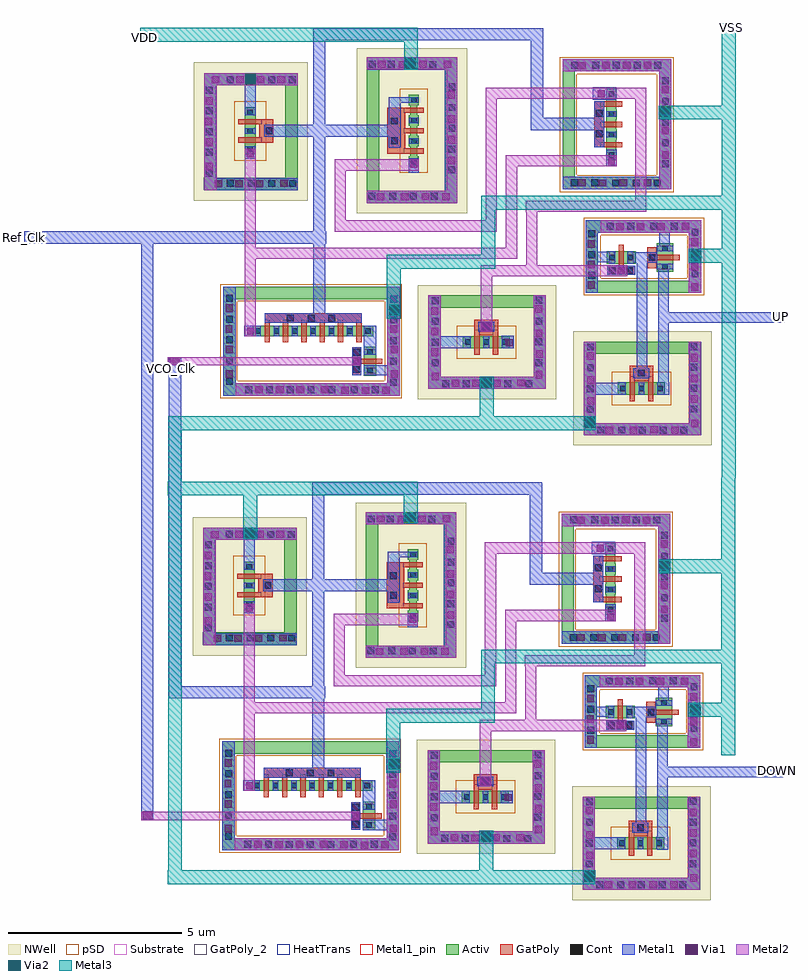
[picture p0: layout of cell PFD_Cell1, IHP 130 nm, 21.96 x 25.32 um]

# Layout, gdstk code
from math import pi, radians
import gdstk
lib = gdstk.Library(unit=1e-6, precision=1e-09)
def R(c, l, rs):  # rectangles x0, y0, x1, y1
    for r in rs: c.add(gdstk.rectangle(r[:2], r[2:], *l))
def A(c, l, x, y, w, h, nx, ny, dx, dy):  # array of equal rectangles
    R(c, l, [(x+i*dx, y+j*dy, x+i*dx+w, y+j*dy+h) for i in range(nx) for j in range(ny)])
Activ = (1, 0)
GatPoly = (5, 0)
GatPoly_2 = (5, 2)
Cont = (6, 0)
Metal1 = (8, 0)
Metal1_pin = (8, 2)
Metal2 = (10, 0)
pSD = (14, 0)
Via1 = (19, 0)
Via2 = (29, 0)
Metal3 = (30, 0)
NWell = (31, 0)
Substrate = (40, 0)
HeatTrans = (51, 0)

pmos_3 = lib.new_cell('pmos$3')
A(pmos_3, Activ, 0, 0, 0.3, 0.3, 4, 1, 0.59, 0)
R(pmos_3, Activ, [(0,0.045,2.07,0.255)])
A(pmos_3, GatPoly, 0.37, -0.135, 0.15, 0.57, 3, 1, 0.59, 0)
R(pmos_3, GatPoly, [(0.37,-0.135,0.52,0.435)])
A(pmos_3, Cont, 0.07, 0.07, 0.16, 0.16, 4, 1, 0.59, 0)
A(pmos_3, Metal1, 0.66, 0.02, 0.16, 0.26, 3, 1, 0.59, 0)
R(pmos_3, Metal1, [(0.07,0.02,0.23,0.28), (0.07,0.02,0.23,0.28), (0.66,0.02,0.82,0.28)])
R(pmos_3, pSD, [(-0.18,-0.255,2.25,0.555)])
R(pmos_3, NWell, [(-0.31,-0.31,2.38,0.61)])
R(pmos_3, Substrate, [(1.77,0,2.07,0.3)])
A(pmos_3, HeatTrans, 0.37, -0.135, 0.15, 0.57, 3, 1, 0.59, 0)
pmos_3.add(gdstk.Label('pmos', (0.445,0.15), layer=63, texttype=0))
pmos_3.add(gdstk.Label('pmos', (0.445,0.15), layer=51, texttype=0))
pmos_3.add(gdstk.Label('pmos', (1.035,0.15), layer=51, texttype=0))
pmos_3.add(gdstk.Label('pmos', (1.625,0.15), layer=51, texttype=0))

pmos_2_1 = lib.new_cell('pmos$2$1')
A(pmos_2_1, Activ, 0, 0, 0.3, 0.3, 3, 1, 0.53, 0)
R(pmos_2_1, Activ, [(0,0,1.36,0.32)])
R(pmos_2_1, GatPoly, [(0.34,-0.18,0.49,0.5), (0.34,-0.18,0.49,0.5), (0.87,-0.18,1.02,0.5)])
A(pmos_2_1, Cont, 0.07, 0.08, 0.16, 0.16, 3, 1, 0.53, 0)
R(pmos_2_1, Metal1, [(0.07,0,0.23,0.32), (0.07,0,0.23,0.32), (0.6,0,0.76,0.32), (0.6,0,0.76,0.32), (1.13,0,1.29,0.32)])
R(pmos_2_1, pSD, [(-0.18,-0.3,1.54,0.62)])
R(pmos_2_1, NWell, [(-0.31,-0.31,1.67,0.63)])
R(pmos_2_1, Substrate, [(1.06,0,1.36,0.3)])
R(pmos_2_1, HeatTrans, [(0.34,-0.18,0.49,0.5), (0.87,-0.18,1.02,0.5)])
pmos_2_1.add(gdstk.Label('pmos', (0.415,0.16), layer=63, texttype=0))
pmos_2_1.add(gdstk.Label('pmos', (0.415,0.16), layer=51, texttype=0))
pmos_2_1.add(gdstk.Label('pmos', (0.945,0.16), layer=51, texttype=0))

nmos_1 = lib.new_cell('nmos$1')
A(nmos_1, Activ, 0, 0, 0.3, 0.3, 7, 1, 0.53, 0)
R(nmos_1, Activ, [(0,0,3.48,0.3)])
A(nmos_1, GatPoly, 0.34, -0.18, 0.15, 0.66, 6, 1, 0.53, 0)
R(nmos_1, GatPoly_2, [(0.34,-0.18,0.49,0.48)])
A(nmos_1, Cont, 0.07, 0.07, 0.16, 0.16, 7, 1, 0.53, 0)
A(nmos_1, Metal1, 0.07, 0, 0.16, 0.3, 7, 1, 0.53, 0)
R(nmos_1, Metal1_pin, [(0.07,0,0.23,0.3), (0.6,0,0.76,0.3)])
A(nmos_1, HeatTrans, 0.34, -0.18, 0.15, 0.66, 6, 1, 0.53, 0)
nmos_1.add(gdstk.Label('nmos', (0.415,0.15), layer=63, texttype=0))
nmos_1.add(gdstk.Label('nmos', (0.415,0.15), layer=51, texttype=0))
nmos_1.add(gdstk.Label('nmos', (0.945,0.15), layer=51, texttype=0))
nmos_1.add(gdstk.Label('nmos', (1.475,0.15), layer=51, texttype=0))
nmos_1.add(gdstk.Label('nmos', (2.005,0.15), layer=51, texttype=0))
nmos_1.add(gdstk.Label('nmos', (2.535,0.15), layer=51, texttype=0))
nmos_1.add(gdstk.Label('nmos', (3.065,0.15), layer=51, texttype=0))

nmos_3_1 = lib.new_cell('nmos$3$1')
R(nmos_3_1, Activ, [(0,0,0.3,0.3), (0,0,0.83,0.36), (0.53,0,0.83,0.3)])
R(nmos_3_1, GatPoly, [(0.34,-0.18,0.49,0.54)])
R(nmos_3_1, GatPoly_2, [(0.34,-0.18,0.49,0.54)])
R(nmos_3_1, Cont, [(0.07,0.1,0.23,0.26), (0.6,0.1,0.76,0.26)])
R(nmos_3_1, Metal1, [(0.07,0,0.23,0.36), (0.6,0,0.76,0.36)])
R(nmos_3_1, Metal1_pin, [(0.07,0,0.23,0.36), (0.6,0,0.76,0.36)])
R(nmos_3_1, HeatTrans, [(0.34,-0.18,0.49,0.54)])
nmos_3_1.add(gdstk.Label('nmos', (0.415,0.18), layer=63, texttype=0))
nmos_3_1.add(gdstk.Label('nmos', (0.415,0.18), layer=51, texttype=0))

nmos = lib.new_cell('nmos')
A(nmos, Activ, 0, 0, 0.3, 0.3, 4, 1, 0.59, 0)
R(nmos, Activ, [(0,0.01,2.07,0.29)])
A(nmos, GatPoly, 0.37, -0.17, 0.15, 0.64, 3, 1, 0.59, 0)
R(nmos, GatPoly_2, [(0.37,-0.17,0.52,0.47)])
A(nmos, Cont, 0.07, 0.07, 0.16, 0.16, 4, 1, 0.59, 0)
A(nmos, Metal1, 0.07, 0.01, 0.16, 0.28, 4, 1, 0.59, 0)
R(nmos, Metal1_pin, [(0.07,0.01,0.23,0.29), (0.66,0.01,0.82,0.29)])
A(nmos, HeatTrans, 0.37, -0.17, 0.15, 0.64, 3, 1, 0.59, 0)
nmos.add(gdstk.Label('nmos', (0.445,0.15), layer=63, texttype=0))
nmos.add(gdstk.Label('nmos', (0.445,0.15), layer=51, texttype=0))
nmos.add(gdstk.Label('nmos', (1.035,0.15), layer=51, texttype=0))
nmos.add(gdstk.Label('nmos', (1.625,0.15), layer=51, texttype=0))

pmos = lib.new_cell('pmos')
A(pmos, Activ, 0, 0, 0.3, 0.3, 3, 1, 0.53, 0)
R(pmos, Activ, [(0,0,1.36,0.36)])
R(pmos, GatPoly, [(0.34,-0.18,0.49,0.54), (0.34,-0.18,0.49,0.54), (0.87,-0.18,1.02,0.54)])
A(pmos, Cont, 0.07, 0.1, 0.16, 0.16, 3, 1, 0.53, 0)
R(pmos, Metal1, [(0.07,0,0.23,0.36), (0.07,0,0.23,0.36), (0.6,0,0.76,0.36), (0.6,0,0.76,0.36), (1.13,0,1.29,0.36)])
R(pmos, pSD, [(-0.18,-0.3,1.54,0.66)])
R(pmos, NWell, [(-0.31,-0.31,1.67,0.67)])
R(pmos, Substrate, [(1.06,0,1.36,0.3)])
R(pmos, HeatTrans, [(0.34,-0.18,0.49,0.54), (0.87,-0.18,1.02,0.54)])
pmos.add(gdstk.Label('pmos', (0.415,0.18), layer=63, texttype=0))
pmos.add(gdstk.Label('pmos', (0.415,0.18), layer=51, texttype=0))
pmos.add(gdstk.Label('pmos', (0.945,0.18), layer=51, texttype=0))

nmos_5 = lib.new_cell('nmos$5')
R(nmos_5, Activ, [(0,0,0.3,0.3), (0,0,0.83,0.48), (0.53,0,0.83,0.3)])
R(nmos_5, GatPoly, [(0.34,-0.18,0.49,0.66)])
R(nmos_5, GatPoly_2, [(0.34,-0.18,0.49,0.66)])
R(nmos_5, Cont, [(0.07,0.16,0.23,0.32), (0.6,0.16,0.76,0.32)])
R(nmos_5, Metal1, [(0.07,0,0.23,0.48), (0.6,0,0.76,0.48)])
R(nmos_5, Metal1_pin, [(0.07,0,0.23,0.48), (0.6,0,0.76,0.48)])
R(nmos_5, HeatTrans, [(0.34,-0.18,0.49,0.66)])
nmos_5.add(gdstk.Label('nmos', (0.415,0.24), layer=63, texttype=0))
nmos_5.add(gdstk.Label('nmos', (0.415,0.24), layer=51, texttype=0))

pfd_cell1 = lib.new_cell('PFD_Cell1')
R(pfd_cell1, Activ, [(254.327,-125.049,254.677,-122.349), (254.677,-125.049,257.722,-124.699), (257.37,-124.699,257.72,-122.699), (243.912,-123.904,249.012,-123.549), (249.842,-123.709,250.192,-121.009), (250.192,-123.709,253.237,-123.359), (243.912,-123.549,244.267,-121.114), (248.657,-123.549,249.012,-121.114), (252.885,-123.359,253.235,-121.359), (254.677,-122.699,257.717,-122.349), (254.677,-122.699,257.717,-122.349), (250.192,-121.359,253.232,-121.009), (243.912,-121.114,249.012,-120.759), (254.382,-120.934,257.722,-120.579), (254.382,-120.934,254.737,-118.839), (257.367,-120.789,257.722,-119.124), (254.382,-119.194,257.722,-118.839), (248.057,-118.337,250.667,-117.987), (248.057,-117.987,248.412,-114.127), (250.317,-117.987,250.667,-114.477), (243.357,-117.974,243.707,-114.929), (245.707,-117.969,246.057,-114.929), (243.352,-117.959,246.057,-117.609), (253.717,-117.934,254.072,-114.534), (254.072,-117.934,256.507,-117.579), (256.507,-117.934,256.862,-114.179), (243.357,-114.929,246.057,-114.579), (253.717,-114.534,256.507,-114.179), (248.412,-114.479,250.667,-114.127), (254.355,-111.909,254.705,-109.209), (254.705,-111.909,257.75,-111.559), (257.398,-111.559,257.748,-109.559), (243.94,-110.764,249.04,-110.409), (249.87,-110.569,250.22,-107.869), (250.22,-110.569,253.265,-110.219), (243.94,-110.409,244.295,-107.974), (248.685,-110.409,249.04,-107.974), (252.913,-110.219,253.263,-108.219), (254.705,-109.559,257.745,-109.209), (254.705,-109.559,257.745,-109.209), (250.22,-108.219,253.26,-107.869), (243.94,-107.974,249.04,-107.619), (254.41,-107.794,257.75,-107.439), (254.41,-107.794,254.765,-105.699), (257.395,-107.649,257.75,-105.984), (254.41,-106.054,257.75,-105.699), (248.085,-105.197,250.695,-104.847), (248.085,-104.847,248.44,-100.987), (250.345,-104.847,250.695,-101.337), (243.385,-104.834,243.735,-101.789), (245.735,-104.829,246.085,-101.789), (243.38,-104.819,246.085,-104.469), (253.745,-104.794,254.1,-101.394), (254.1,-104.794,256.535,-104.439), (256.535,-104.794,256.89,-101.039), (243.385,-101.789,246.085,-101.439), (253.745,-101.394,256.535,-101.039), (248.44,-101.339,250.695,-100.987)])
R(pfd_cell1, GatPoly, [(255.657,-123.494,256.342,-123.044), (247.642,-123.309,247.902,-122.509), (251.172,-122.154,251.857,-121.704), (245.107,-121.804,247.907,-121.524), (255.012,-120.414,255.812,-120.154), (256.167,-120.224,256.437,-119.614), (248.657,-116.907,249.167,-115.577), (254.637,-116.729,254.917,-115.394), (244.957,-116.594,245.362,-115.909), (255.685,-110.354,256.37,-109.904), (247.67,-110.169,247.93,-109.369), (251.2,-109.014,251.885,-108.564), (245.135,-108.664,247.935,-108.384), (255.04,-107.274,255.84,-107.014), (256.195,-107.084,256.465,-106.474), (248.685,-103.767,249.195,-102.437), (254.665,-103.589,254.945,-102.254), (244.985,-103.454,245.39,-102.769)])
A(pfd_cell1, Cont, 255.922, -124.999, 0.2, 0.195, 3, 1, 0.6, 0)
A(pfd_cell1, Cont, 245.747, -123.834, 0.2, 0.195, 3, 1, 0.6, 0)
A(pfd_cell1, Cont, 251.437, -123.659, 0.2, 0.195, 3, 1, 0.6, 0)
A(pfd_cell1, Cont, 248.737, -123.614, 0.195, 0.2, 1, 3, 0, 0.6)
A(pfd_cell1, Cont, 243.992, -123.594, 0.195, 0.2, 1, 3, 0, 0.6)
A(pfd_cell1, Cont, 254.462, -120.529, 0.195, 0.2, 1, 3, 0, 0.6)
A(pfd_cell1, Cont, 257.447, -120.479, 0.195, 0.2, 1, 3, 0, 0.6)
A(pfd_cell1, Cont, 255.152, -117.854, 0.2, 0.195, 3, 1, 0.6, 0)
A(pfd_cell1, Cont, 243.407, -117.574, 0.195, 0.2, 1, 3, 0, 0.6)
A(pfd_cell1, Cont, 250.422, -116.277, 0.195, 0.2, 1, 3, 0, 0.6)
A(pfd_cell1, Cont, 256.597, -116.099, 0.195, 0.2, 1, 3, 0, 0.6)
A(pfd_cell1, Cont, 255.172, -114.454, 0.2, 0.195, 3, 1, 0.6, 0)
A(pfd_cell1, Cont, 255.95, -111.859, 0.2, 0.195, 3, 1, 0.6, 0)
A(pfd_cell1, Cont, 245.775, -110.694, 0.2, 0.195, 3, 1, 0.6, 0)
A(pfd_cell1, Cont, 251.465, -110.519, 0.2, 0.195, 3, 1, 0.6, 0)
A(pfd_cell1, Cont, 248.765, -110.474, 0.195, 0.2, 1, 3, 0, 0.6)
A(pfd_cell1, Cont, 244.02, -110.454, 0.195, 0.2, 1, 3, 0, 0.6)
A(pfd_cell1, Cont, 254.49, -107.389, 0.195, 0.2, 1, 3, 0, 0.6)
A(pfd_cell1, Cont, 257.475, -107.339, 0.195, 0.2, 1, 3, 0, 0.6)
A(pfd_cell1, Cont, 255.18, -104.714, 0.2, 0.195, 3, 1, 0.6, 0)
A(pfd_cell1, Cont, 243.435, -104.434, 0.195, 0.2, 1, 3, 0, 0.6)
A(pfd_cell1, Cont, 250.45, -103.137, 0.195, 0.2, 1, 3, 0, 0.6)
A(pfd_cell1, Cont, 256.625, -102.959, 0.195, 0.2, 1, 3, 0, 0.6)
A(pfd_cell1, Cont, 255.2, -101.314, 0.2, 0.195, 3, 1, 0.6, 0)
R(pfd_cell1, Cont, [(254.722,-124.994,254.922,-124.799), (255.322,-124.994,255.522,-124.799), (254.422,-124.399,254.617,-124.199), (257.417,-124.389,257.612,-124.189), (244.547,-123.829,244.747,-123.634), (245.147,-123.829,245.347,-123.634), (247.602,-123.829,247.802,-123.634), (248.202,-123.829,248.402,-123.634), (254.422,-123.799,254.617,-123.599), (257.417,-123.789,257.612,-123.589), (250.237,-123.654,250.437,-123.459), (250.837,-123.654,251.037,-123.459), (255.897,-123.349,256.097,-123.154), (247.667,-123.249,247.862,-123.049), (254.427,-123.199,254.622,-122.999), (257.422,-123.189,257.617,-122.989), (249.937,-123.059,250.132,-122.859), (252.932,-123.049,253.127,-122.849), (247.672,-122.754,247.867,-122.554), (254.427,-122.599,254.622,-122.399), (257.422,-122.589,257.617,-122.389), (249.937,-122.459,250.132,-122.259), (252.932,-122.449,253.127,-122.249), (251.412,-122.009,251.612,-121.814), (249.942,-121.859,250.137,-121.659), (252.937,-121.849,253.132,-121.649), (248.742,-121.814,248.937,-121.614), (243.997,-121.794,244.192,-121.594), (246.352,-121.764,246.552,-121.569), (246.952,-121.764,247.152,-121.569), (245.752,-121.759,245.952,-121.564), (249.942,-121.259,250.137,-121.059), (252.937,-121.249,253.132,-121.049), (248.742,-121.214,248.937,-121.014), (243.997,-121.194,244.192,-120.994), (255.552,-120.389,255.752,-120.194), (255.057,-120.384,255.257,-120.189), (256.202,-120.009,256.402,-119.814), (254.992,-119.109,255.192,-118.914), (255.592,-119.109,255.792,-118.914), (256.247,-119.104,256.447,-118.909), (256.847,-119.104,257.047,-118.909), (249.307,-118.242,249.507,-118.047), (249.907,-118.242,250.107,-118.047), (248.107,-118.237,248.307,-118.042), (248.707,-118.237,248.907,-118.042), (245.217,-117.869,245.417,-117.674), (245.817,-117.869,246.017,-117.674), (244.017,-117.864,244.217,-117.669), (244.617,-117.864,244.817,-117.669), (253.952,-117.849,254.152,-117.654), (254.552,-117.849,254.752,-117.654), (250.417,-117.477,250.612,-117.277), (256.592,-117.299,256.787,-117.099), (250.417,-116.877,250.612,-116.677), (256.592,-116.699,256.787,-116.499), (248.762,-116.637,248.957,-116.437), (254.677,-116.439,254.872,-116.239), (245.137,-116.349,245.332,-116.149), (248.757,-116.067,248.952,-115.867), (254.682,-115.839,254.877,-115.639), (243.412,-115.774,243.607,-115.574), (243.412,-115.174,243.607,-114.974), (245.207,-114.874,245.407,-114.679), (245.807,-114.874,246.007,-114.679), (244.007,-114.869,244.207,-114.674), (244.607,-114.869,244.807,-114.674), (253.972,-114.449,254.172,-114.254), (254.572,-114.449,254.772,-114.254), (249.267,-114.432,249.467,-114.237), (249.867,-114.432,250.067,-114.237), (248.117,-114.427,248.317,-114.232), (248.667,-114.427,248.867,-114.232), (254.75,-111.854,254.95,-111.659), (255.35,-111.854,255.55,-111.659), (254.45,-111.259,254.645,-111.059), (257.445,-111.249,257.64,-111.049), (244.575,-110.689,244.775,-110.494), (245.175,-110.689,245.375,-110.494), (247.63,-110.689,247.83,-110.494), (248.23,-110.689,248.43,-110.494), (254.45,-110.659,254.645,-110.459), (257.445,-110.649,257.64,-110.449), (250.265,-110.514,250.465,-110.319), (250.865,-110.514,251.065,-110.319), (255.925,-110.209,256.125,-110.014), (247.695,-110.109,247.89,-109.909), (254.455,-110.059,254.65,-109.859), (257.45,-110.049,257.645,-109.849), (249.965,-109.919,250.16,-109.719), (252.96,-109.909,253.155,-109.709), (247.7,-109.614,247.895,-109.414), (254.455,-109.459,254.65,-109.259), (257.45,-109.449,257.645,-109.249), (249.965,-109.319,250.16,-109.119), (252.96,-109.309,253.155,-109.109), (251.44,-108.869,251.64,-108.674), (249.97,-108.719,250.165,-108.519), (252.965,-108.709,253.16,-108.509), (248.77,-108.674,248.965,-108.474), (244.025,-108.654,244.22,-108.454), (246.38,-108.624,246.58,-108.429), (246.98,-108.624,247.18,-108.429), (245.78,-108.619,245.98,-108.424), (249.97,-108.119,250.165,-107.919), (252.965,-108.109,253.16,-107.909), (248.77,-108.074,248.965,-107.874), (244.025,-108.054,244.22,-107.854), (255.58,-107.249,255.78,-107.054), (255.085,-107.244,255.285,-107.049), (256.23,-106.869,256.43,-106.674), (255.02,-105.969,255.22,-105.774), (255.62,-105.969,255.82,-105.774), (256.275,-105.964,256.475,-105.769), (256.875,-105.964,257.075,-105.769), (249.335,-105.102,249.535,-104.907), (249.935,-105.102,250.135,-104.907), (248.135,-105.097,248.335,-104.902), (248.735,-105.097,248.935,-104.902), (245.245,-104.729,245.445,-104.534), (245.845,-104.729,246.045,-104.534), (244.045,-104.724,244.245,-104.529), (244.645,-104.724,244.845,-104.529), (253.98,-104.709,254.18,-104.514), (254.58,-104.709,254.78,-104.514), (250.445,-104.337,250.64,-104.137), (256.62,-104.159,256.815,-103.959), (250.445,-103.737,250.64,-103.537), (256.62,-103.559,256.815,-103.359), (248.79,-103.497,248.985,-103.297), (254.705,-103.299,254.9,-103.099), (245.165,-103.209,245.36,-103.009), (248.785,-102.927,248.98,-102.727), (254.71,-102.699,254.905,-102.499), (243.44,-102.634,243.635,-102.434), (243.44,-102.034,243.635,-101.834), (245.235,-101.734,245.435,-101.539), (245.835,-101.734,246.035,-101.539), (244.635,-101.731,244.835,-101.531), (244.035,-101.729,244.235,-101.534), (254,-101.309,254.2,-101.114), (254.6,-101.309,254.8,-101.114), (249.295,-101.292,249.495,-101.097), (249.895,-101.292,250.095,-101.097), (248.145,-101.287,248.345,-101.092), (248.695,-101.287,248.895,-101.092)])
R(pfd_cell1, Metal1, [(254.327,-125.049,254.677,-122.349), (254.677,-125.049,257.722,-124.699), (257.372,-124.699,257.72,-122.349), (243.912,-123.904,244.267,-120.759), (244.267,-123.904,249.012,-123.549), (256.487,-123.884,256.787,-120.254), (254.327,-123.879,255.547,-123.524), (256.447,-123.879,256.797,-123.519), (249.842,-123.709,250.192,-121.009), (250.192,-123.709,253.237,-123.359), (248.657,-123.549,249.012,-120.759), (255.762,-123.394,256.222,-123.114), (255.867,-123.394,256.167,-120.059), (252.887,-123.359,253.235,-121.009), (247.972,-123.319,249.012,-123.019), (247.642,-123.309,247.902,-122.509), (241.57,-123.019,241.92,-106.019), (247.972,-122.564,248.332,-121.884), (249.842,-122.539,251.062,-122.184), (251.962,-122.539,252.312,-122.179), (244.517,-122.184,244.997,-121.884), (251.277,-122.054,251.737,-121.774), (245.107,-121.804,247.907,-121.524), (246.512,-121.804,246.862,-116.424), (256.487,-121.794,260.117,-121.494), (254.382,-120.934,254.737,-119.194), (257.367,-120.934,257.722,-118.839), (255.012,-120.414,255.812,-120.154), (255.592,-120.059,256.447,-119.759), (254.387,-120.049,255.242,-119.749), (256.512,-119.724,256.812,-118.839), (242.37,-119.509,246.882,-119.159), (242.37,-119.499,242.72,-109.649), (254.382,-119.194,257.722,-118.839), (248.057,-118.337,250.317,-117.987), (250.317,-118.337,250.667,-114.477), (243.357,-117.974,246.057,-117.624), (243.357,-117.974,243.707,-114.929), (253.717,-117.934,256.862,-117.579), (256.507,-117.579,256.862,-114.534), (249.267,-117.459,249.567,-117.049), (254.977,-117.279,255.277,-116.799), (244.532,-117.054,244.852,-116.859), (248.692,-116.744,249.042,-115.279), (254.637,-116.729,254.917,-115.394), (245.092,-116.424,249.042,-116.074), (252.802,-116.229,253.152,-113.279), (252.802,-116.229,254.917,-115.879), (252.795,-116.219,253.145,-113.269), (246.512,-116.074,246.862,-113.279), (246.505,-116.064,246.855,-113.269), (244.527,-115.799,244.847,-114.579), (248.692,-115.439,249.277,-115.279), (254.592,-115.349,255.272,-114.989), (243.357,-114.929,246.057,-114.579), (253.717,-114.534,256.862,-114.179), (248.057,-114.479,250.667,-114.127), (246.512,-113.629,253.152,-113.279), (246.505,-113.619,253.145,-113.269), (254.355,-111.909,254.705,-109.209), (254.705,-111.909,257.75,-111.559), (257.4,-111.559,257.748,-109.209), (243.94,-110.764,244.295,-107.619), (244.295,-110.764,249.04,-110.409), (256.515,-110.744,256.815,-107.114), (254.355,-110.739,255.575,-110.384), (256.475,-110.739,256.825,-110.379), (249.87,-110.569,250.22,-107.869), (250.22,-110.569,253.265,-110.219), (248.685,-110.409,249.04,-107.619), (255.79,-110.254,256.25,-109.974), (255.895,-110.254,256.195,-106.919), (252.915,-110.219,253.263,-107.869), (248,-110.179,249.04,-109.879), (247.67,-110.169,247.93,-109.369), (248,-109.424,248.36,-108.744), (249.87,-109.399,251.09,-109.044), (251.99,-109.399,252.34,-109.039), (244.545,-109.044,245.025,-108.744), (251.305,-108.914,251.765,-108.634), (245.135,-108.664,247.935,-108.384), (246.54,-108.664,246.89,-103.284), (256.515,-108.654,260.145,-108.354), (254.41,-107.794,254.765,-106.054), (257.395,-107.794,257.75,-105.699), (255.04,-107.274,255.84,-107.014), (255.62,-106.919,256.475,-106.619), (254.415,-106.909,255.27,-106.609), (256.54,-106.584,256.84,-105.699), (238.18,-106.369,246.91,-106.019), (254.41,-106.054,257.75,-105.699), (248.085,-105.197,250.345,-104.847), (250.345,-105.197,250.695,-101.337), (243.385,-104.834,246.085,-104.484), (243.385,-104.834,243.735,-101.789), (253.745,-104.794,256.89,-104.439), (256.535,-104.439,256.89,-101.394), (249.295,-104.319,249.595,-103.909), (255.005,-104.139,255.305,-103.659), (244.56,-103.914,244.88,-103.719), (248.72,-103.604,249.07,-102.139), (254.665,-103.589,254.945,-102.254), (245.12,-103.284,249.07,-102.934), (252.83,-103.089,253.18,-100.139), (252.83,-103.089,254.945,-102.739), (246.54,-102.934,246.89,-100.139), (244.555,-102.659,244.875,-101.439), (248.72,-102.299,249.305,-102.139), (254.62,-102.209,255.3,-101.849), (243.385,-101.789,246.085,-101.439), (253.745,-101.394,256.89,-101.039), (248.085,-101.339,250.695,-100.987), (246.54,-100.489,253.18,-100.139)])
R(pfd_cell1, Metal2, [(254.327,-125.044,254.677,-122.349), (254.677,-125.044,257.712,-124.699), (257.362,-124.709,257.712,-122.349), (244.267,-123.904,249.012,-123.549), (249.842,-123.709,250.192,-121.009), (250.192,-123.709,253.237,-123.359), (248.657,-123.549,249.012,-120.759), (252.887,-123.359,253.237,-121.009), (247.857,-123.034,247.867,-122.789), (241.57,-123.029,247.867,-122.789), (244.527,-122.184,244.852,-116.774), (251.357,-122.059,251.682,-120.134), (257.367,-120.924,257.722,-119.194), (251.357,-120.459,252.987,-120.134), (252.662,-120.459,252.987,-118.264), (252.662,-120.459,255.592,-120.134), (255.292,-120.199,255.537,-120.189), (244.852,-119.949,252.082,-119.624), (252.082,-119.949,252.407,-116.954), (252.082,-119.949,252.407,-116.954), (254.822,-119.194,257.722,-118.839), (247.132,-119.164,247.457,-117.069), (247.132,-119.164,251.822,-118.839), (251.497,-118.839,251.822,-115.329), (252.657,-118.589,256.137,-118.264), (255.812,-118.589,256.137,-115.009), (248.057,-118.337,250.367,-117.987), (250.367,-118.337,250.667,-114.477), (243.357,-117.972,243.717,-114.929), (256.507,-117.934,256.862,-114.534), (247.457,-117.399,249.567,-117.074), (252.082,-117.279,255.277,-116.954), (251.497,-115.329,254.977,-115.004), (254.967,-115.329,256.132,-115.004), (243.357,-114.929,246.057,-114.579), (253.717,-114.534,256.862,-114.179), (248.057,-114.477,250.667,-114.127), (254.355,-111.904,254.705,-109.209), (254.705,-111.904,257.74,-111.559), (257.39,-111.569,257.74,-109.209), (244.295,-110.764,249.04,-110.409), (249.87,-110.569,250.22,-107.869), (250.22,-110.569,253.265,-110.219), (248.685,-110.409,249.04,-107.619), (252.915,-110.219,253.265,-107.869), (247.885,-109.894,247.895,-109.649), (242.335,-109.889,247.895,-109.649), (244.555,-109.044,244.88,-103.634), (251.385,-108.919,251.71,-106.994), (257.395,-107.784,257.75,-106.054), (251.385,-107.319,253.015,-106.994), (252.69,-107.319,253.015,-105.124), (252.69,-107.319,255.62,-106.994), (255.32,-107.059,255.565,-107.049), (244.88,-106.809,252.11,-106.484), (252.11,-106.809,252.435,-103.814), (252.11,-106.809,252.435,-103.814), (254.85,-106.054,257.75,-105.699), (247.16,-106.024,247.485,-103.929), (247.16,-106.024,251.85,-105.699), (251.525,-105.699,251.85,-102.189), (252.685,-105.449,256.165,-105.124), (255.84,-105.449,256.165,-101.869), (248.085,-105.197,250.395,-104.847), (250.395,-105.197,250.695,-101.337), (243.385,-104.832,243.745,-101.789), (256.535,-104.794,256.89,-101.394), (247.485,-104.259,249.595,-103.934), (252.11,-104.139,255.305,-103.814), (251.525,-102.189,255.005,-101.864), (254.995,-102.189,256.16,-101.864), (243.385,-101.789,246.085,-101.439), (253.745,-101.394,256.89,-101.039), (248.085,-101.337,250.695,-100.987)])
R(pfd_cell1, pSD, [(243.822,-123.974,248.572,-123.479), (248.572,-123.974,249.067,-120.679), (243.822,-123.479,244.317,-121.174), (243.822,-121.174,248.572,-120.679), (254.327,-121.009,254.822,-118.769), (254.747,-121.009,257.807,-120.514), (257.317,-121.009,257.812,-119.264), (254.822,-119.264,257.812,-118.769), (253.637,-118.024,254.132,-114.619), (254.132,-118.024,256.437,-117.529), (256.437,-118.024,256.932,-114.519), (253.637,-114.619,256.932,-114.124), (243.85,-110.834,248.6,-110.339), (248.6,-110.834,249.095,-107.539), (243.85,-110.339,244.345,-108.034), (243.85,-108.034,248.6,-107.539), (254.355,-107.869,254.85,-105.629), (254.775,-107.869,257.835,-107.374), (257.345,-107.869,257.84,-106.124), (254.85,-106.124,257.84,-105.629), (253.665,-104.884,254.16,-101.479), (254.16,-104.884,256.465,-104.389), (256.465,-104.884,256.96,-101.379), (253.665,-101.479,256.96,-100.984)])
R(pfd_cell1, Via1, [(254.957,-125.004,255.177,-124.804), (255.662,-124.999,255.882,-124.799), (256.852,-124.999,257.072,-124.799), (256.257,-124.994,256.477,-124.794), (257.432,-124.814,257.632,-124.594), (254.427,-124.759,254.627,-124.539), (254.432,-124.164,254.632,-123.944), (257.427,-124.109,257.627,-123.889), (247.912,-123.854,248.132,-123.654), (247.317,-123.849,247.537,-123.649), (248.507,-123.849,248.727,-123.649), (245.432,-123.839,245.652,-123.639), (244.837,-123.834,245.057,-123.634), (246.027,-123.834,246.247,-123.634), (246.732,-123.829,246.952,-123.629), (251.112,-123.649,251.332,-123.449), (250.517,-123.644,250.737,-123.444), (251.707,-123.644,251.927,-123.444), (252.412,-123.639,252.632,-123.439), (254.427,-123.569,254.627,-123.349), (257.422,-123.514,257.622,-123.294), (249.932,-123.464,250.132,-123.244), (252.937,-123.409,253.137,-123.189), (248.752,-123.389,248.952,-123.169), (243.987,-123.384,244.187,-123.164), (241.61,-123.009,241.895,-122.769), (247.667,-123.009,247.867,-122.809), (257.427,-122.919,257.627,-122.699), (254.422,-122.864,254.622,-122.644), (252.942,-122.814,253.142,-122.594), (249.927,-122.759,250.127,-122.539), (248.747,-122.684,248.947,-122.464), (243.982,-122.679,244.182,-122.459), (252.075,-122.479,252.275,-122.279), (252.937,-122.219,253.137,-121.999), (249.922,-122.164,250.122,-121.944), (244.597,-122.139,244.797,-121.939), (248.742,-122.089,248.942,-121.869), (243.977,-122.084,244.177,-121.864), (251.362,-122.054,251.677,-121.799), (249.927,-121.569,250.127,-121.349), (252.932,-121.514,253.132,-121.294), (248.747,-121.494,248.947,-121.274), (243.982,-121.489,244.182,-121.269), (257.442,-120.879,257.642,-120.659), (254.452,-120.819,254.652,-120.599), (255.312,-120.389,255.512,-120.189), (257.437,-120.284,257.637,-120.064), (254.447,-120.224,254.647,-120.004), (254.452,-119.629,254.652,-119.409), (257.432,-119.579,257.632,-119.359), (255.862,-119.124,256.082,-118.924), (255.267,-119.119,255.487,-118.919), (256.457,-119.119,256.677,-118.919), (257.162,-119.114,257.382,-118.914), (248.342,-118.259,248.562,-118.059), (249.047,-118.254,249.267,-118.054), (250.237,-118.254,250.457,-118.054), (249.642,-118.249,249.862,-118.049), (244.257,-117.879,244.477,-117.679), (243.662,-117.874,243.882,-117.674), (244.852,-117.874,245.072,-117.674), (245.557,-117.869,245.777,-117.669), (254.767,-117.859,254.987,-117.659), (254.172,-117.854,254.392,-117.654), (255.362,-117.854,255.582,-117.654), (256.067,-117.849,256.287,-117.649), (243.407,-117.394,243.607,-117.174), (249.317,-117.322,249.517,-117.122), (255.032,-117.249,255.232,-117.049), (250.412,-117.214,250.612,-116.994), (256.592,-117.059,256.792,-116.839), (244.587,-117.012,244.787,-116.812), (243.402,-116.689,243.602,-116.469), (250.417,-116.619,250.617,-116.399), (256.587,-116.354,256.787,-116.134), (243.397,-116.094,243.597,-115.874), (250.412,-116.024,250.612,-115.804), (256.582,-115.759,256.782,-115.539), (243.402,-115.499,243.602,-115.279), (250.407,-115.319,250.607,-115.099), (254.732,-115.274,254.932,-115.074), (256.587,-115.164,256.787,-114.944), (243.582,-114.879,243.802,-114.679), (244.287,-114.874,244.507,-114.674), (245.477,-114.874,245.697,-114.674), (244.882,-114.869,245.102,-114.669), (254.162,-114.464,254.382,-114.264), (254.867,-114.459,255.087,-114.259), (256.057,-114.459,256.277,-114.259), (255.462,-114.454,255.682,-114.254), (248.977,-114.434,249.197,-114.234), (248.382,-114.429,248.602,-114.229), (249.572,-114.429,249.792,-114.229), (250.277,-114.424,250.497,-114.224), (254.985,-111.864,255.205,-111.664), (255.69,-111.859,255.91,-111.659), (256.88,-111.859,257.1,-111.659), (256.285,-111.854,256.505,-111.654), (257.46,-111.674,257.66,-111.454), (254.455,-111.619,254.655,-111.399), (254.46,-111.024,254.66,-110.804), (257.455,-110.969,257.655,-110.749), (247.94,-110.714,248.16,-110.514), (247.345,-110.709,247.565,-110.509), (248.535,-110.709,248.755,-110.509), (245.46,-110.699,245.68,-110.499), (244.865,-110.694,245.085,-110.494), (246.055,-110.694,246.275,-110.494), (246.76,-110.689,246.98,-110.489), (251.14,-110.509,251.36,-110.309), (250.545,-110.504,250.765,-110.304), (251.735,-110.504,251.955,-110.304), (252.44,-110.499,252.66,-110.299), (254.455,-110.429,254.655,-110.209), (257.45,-110.374,257.65,-110.154), (249.96,-110.324,250.16,-110.104), (252.965,-110.269,253.165,-110.049), (248.78,-110.249,248.98,-110.029), (244.015,-110.244,244.215,-110.024), (242.39,-109.889,242.675,-109.649), (247.695,-109.869,247.895,-109.669), (257.455,-109.779,257.655,-109.559), (254.45,-109.724,254.65,-109.504), (252.97,-109.674,253.17,-109.454), (249.955,-109.619,250.155,-109.399), (248.775,-109.544,248.975,-109.324), (244.01,-109.539,244.21,-109.319), (252.103,-109.339,252.303,-109.139), (252.965,-109.079,253.165,-108.859), (249.95,-109.024,250.15,-108.804), (244.625,-108.999,244.825,-108.799), (248.77,-108.949,248.97,-108.729), (244.005,-108.944,244.205,-108.724), (251.39,-108.914,251.705,-108.659), (249.955,-108.429,250.155,-108.209), (252.96,-108.374,253.16,-108.154), (248.775,-108.354,248.975,-108.134), (244.01,-108.349,244.21,-108.129), (257.47,-107.739,257.67,-107.519), (254.48,-107.679,254.68,-107.459), (255.34,-107.249,255.54,-107.049), (257.465,-107.144,257.665,-106.924), (254.475,-107.084,254.675,-106.864), (254.48,-106.489,254.68,-106.269), (257.46,-106.439,257.66,-106.219), (255.89,-105.984,256.11,-105.784), (255.295,-105.979,255.515,-105.779), (256.485,-105.979,256.705,-105.779), (257.19,-105.974,257.41,-105.774), (248.37,-105.119,248.59,-104.919), (249.075,-105.114,249.295,-104.914), (250.265,-105.114,250.485,-104.914), (249.67,-105.109,249.89,-104.909), (244.285,-104.739,244.505,-104.539), (243.69,-104.734,243.91,-104.534), (244.88,-104.734,245.1,-104.534), (245.585,-104.729,245.805,-104.529), (254.795,-104.719,255.015,-104.519), (254.2,-104.714,254.42,-104.514), (255.39,-104.714,255.61,-104.514), (256.095,-104.709,256.315,-104.509), (243.435,-104.254,243.635,-104.034), (249.345,-104.182,249.545,-103.982), (255.06,-104.109,255.26,-103.909), (250.44,-104.074,250.64,-103.854), (256.62,-103.919,256.82,-103.699), (244.615,-103.872,244.815,-103.672), (243.43,-103.549,243.63,-103.329), (250.445,-103.479,250.645,-103.259), (256.615,-103.214,256.815,-102.994), (243.425,-102.954,243.625,-102.734), (250.44,-102.884,250.64,-102.664), (256.61,-102.619,256.81,-102.399), (243.43,-102.359,243.63,-102.139), (250.435,-102.179,250.635,-101.959), (254.76,-102.134,254.96,-101.934), (256.615,-102.024,256.815,-101.804), (243.61,-101.739,243.83,-101.539), (244.315,-101.734,244.535,-101.534), (245.505,-101.734,245.725,-101.534), (244.91,-101.729,245.13,-101.529), (254.19,-101.324,254.41,-101.124), (254.895,-101.319,255.115,-101.119), (256.085,-101.319,256.305,-101.119), (255.49,-101.314,255.71,-101.114), (249.005,-101.294,249.225,-101.094), (248.41,-101.289,248.63,-101.089), (249.6,-101.289,249.82,-101.089), (250.305,-101.284,250.525,-101.084)])
R(pfd_cell1, Via2, [(254.365,-124.812,254.665,-124.512), (251.39,-123.652,251.69,-123.352), (248.72,-121.557,249.02,-121.257), (257.44,-119.997,257.74,-119.697), (256.555,-115.837,256.855,-115.537), (244.562,-114.877,244.862,-114.577), (249.195,-114.432,249.495,-114.132), (254.375,-111.694,254.675,-111.394), (251.4,-110.534,251.7,-110.234), (248.73,-108.439,249.03,-108.139), (257.45,-106.879,257.75,-106.579), (256.565,-102.719,256.865,-102.419), (244.572,-101.759,244.872,-101.459), (249.205,-101.314,249.505,-101.014)])
R(pfd_cell1, Metal3, [(242.335,-124.882,254.695,-124.482), (251.34,-124.882,251.74,-123.334), (242.345,-124.879,242.745,-111.761), (248.655,-121.66,249.055,-119.812), (258.335,-121.162,258.735,-113.137), (248.655,-120.212,251.79,-119.812), (257.377,-120.037,258.735,-119.637), (251.39,-119.822,251.79,-118.102), (251.39,-118.502,258.735,-118.102), (256.52,-115.897,258.735,-115.497), (244.515,-114.907,244.915,-113.249), (249.155,-114.457,249.555,-113.249), (242.335,-113.649,249.555,-113.249), (258.345,-113.137,258.745,-100.019), (242.345,-111.764,254.705,-111.364), (251.35,-111.764,251.75,-110.216), (248.665,-108.542,249.065,-106.694), (248.665,-107.094,251.8,-106.694), (257.387,-106.919,258.745,-106.519), (251.4,-106.704,251.8,-104.984), (251.4,-105.384,258.745,-104.984), (256.53,-102.779,258.745,-102.379), (249.165,-101.339,249.565,-100.131), (241.54,-100.531,249.565,-100.131)])
R(pfd_cell1, NWell, [(254.022,-125.344,258.022,-122.049), (249.537,-124.004,253.537,-120.709), (247.767,-118.627,250.967,-113.857), (243.062,-118.274,246.357,-114.274), (254.05,-112.204,258.05,-108.909), (249.565,-110.864,253.565,-107.569), (247.795,-105.487,250.995,-100.717), (243.09,-105.134,246.385,-101.134)])
pfd_cell1.add(gdstk.Reference(pmos_3, (249.595,-104.14), rotation=pi/2))
pfd_cell1.add(gdstk.Reference(pmos_2_1, (244.555,-102.43), rotation=3*pi/2))
pfd_cell1.add(gdstk.Reference(nmos_1, (244.795,-109.045)))
pfd_cell1.add(gdstk.Reference(nmos_3_1, (248.36,-110.185), rotation=pi/2))
pfd_cell1.add(gdstk.Reference(nmos, (255.305,-103.96), rotation=pi/2))
pfd_cell1.add(gdstk.Reference(pmos, (250.86,-109.4)))
pfd_cell1.add(gdstk.Reference(pmos, (255.345,-110.74)))
pfd_cell1.add(gdstk.Reference(nmos_5, (256.465,-106.355), rotation=3*pi/2))
pfd_cell1.add(gdstk.Reference(nmos_3_1, (255.855,-106.585), rotation=pi))
pfd_cell1.add(gdstk.Reference(pmos_3, (249.57,-117.28), rotation=pi/2))
pfd_cell1.add(gdstk.Reference(pmos_2_1, (244.53,-115.57), rotation=3*pi/2))
pfd_cell1.add(gdstk.Reference(nmos_1, (244.77,-122.185)))
pfd_cell1.add(gdstk.Reference(nmos_3_1, (248.335,-123.325), rotation=pi/2))
pfd_cell1.add(gdstk.Reference(nmos, (255.28,-117.1), rotation=pi/2))
pfd_cell1.add(gdstk.Reference(pmos, (250.835,-122.54)))
pfd_cell1.add(gdstk.Reference(pmos, (255.32,-123.88)))
pfd_cell1.add(gdstk.Reference(nmos_5, (256.44,-119.495), rotation=3*pi/2))
pfd_cell1.add(gdstk.Reference(nmos_3_1, (255.83,-119.725), rotation=pi))
pfd_cell1.add(gdstk.Label('UP', (260.05,-108.485), layer=8, texttype=2))
pfd_cell1.add(gdstk.Label('DOWN', (259.96,-121.61), layer=8, texttype=2))
pfd_cell1.add(gdstk.Label('Ref_Clk', (238.2,-106.18), layer=8, texttype=2))
pfd_cell1.add(gdstk.Label('VCO_Clk', (242.44,-109.975), layer=8, texttype=2))
pfd_cell1.add(gdstk.Label('VDD', (241.655,-100.4), layer=30, texttype=2))
pfd_cell1.add(gdstk.Label('VSS', (258.615,-100.12), layer=30, texttype=2))

lib.write_gds('PFD_Cell1.gds')
